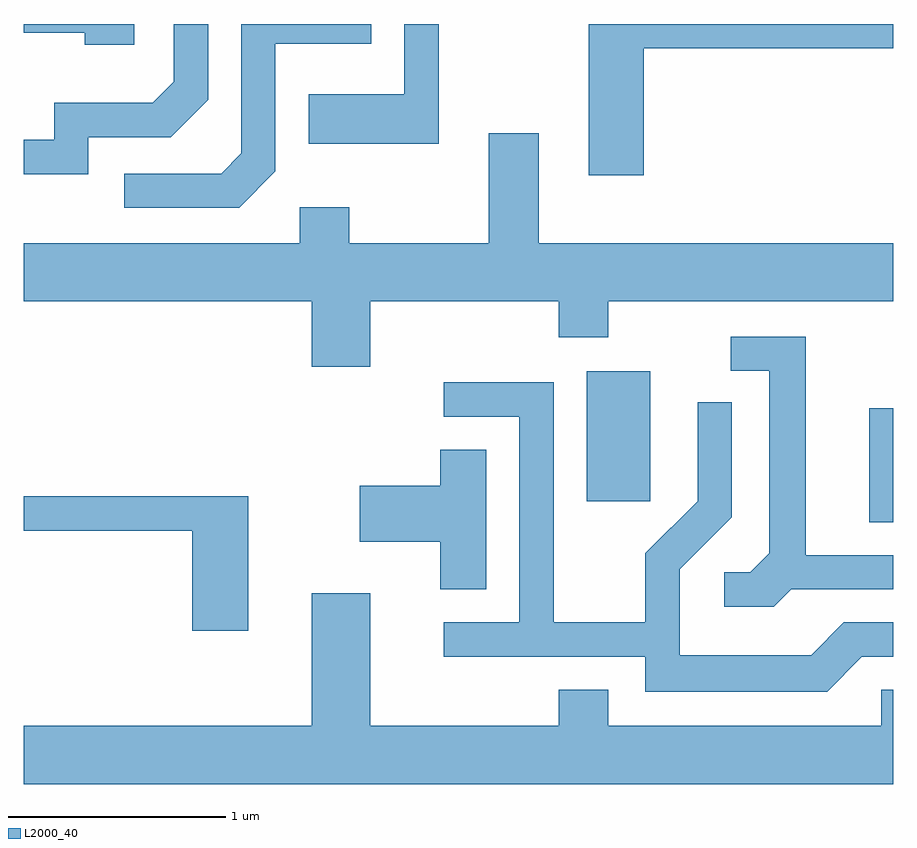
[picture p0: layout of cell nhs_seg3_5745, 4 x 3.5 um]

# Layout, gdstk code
import gdstk
lib = gdstk.Library(unit=1e-6, precision=1e-09)
def R(c, l, rs):  # rectangles x0, y0, x1, y1
    for r in rs: c.add(gdstk.rectangle(r[:2], r[2:], *l))
def P(c, l, *ps):  # polygons
    for p in ps: c.add(gdstk.Polygon(p, *l))
L2000_40 = (2000, 40)

nhs_seg3_5745 = lib.new_cell('nhs_seg3_5745')
R(nhs_seg3_5745, L2000_40, [(357.501,1191.601,357.611,1192.124), (356.201,1191.696,356.494,1192.294)])
P(nhs_seg3_5745, L2000_40, [(354.119,1193.892),(353.611,1193.892),(353.611,1193.851),(353.891,1193.851),(353.891,1193.796),(354.119,1193.796)],
  [(354.769,1193.214),(354.769,1193.801),(355.209,1193.801),(355.209,1193.892),(354.611,1193.892),(354.611,1193.297),(354.519,1193.204),(354.073,1193.204),(354.073,1193.046),(354.602,1193.046)],
  [(353.909,1193.371),(354.287,1193.371),(354.459,1193.544),(354.459,1193.892),(354.301,1193.892),(354.301,1193.627),(354.204,1193.529),(353.751,1193.529),(353.751,1193.359),(353.611,1193.359),(353.611,1193.201),(353.909,1193.201)],
  [(355.519,1193.892),(355.361,1193.892),(355.361,1193.569),(354.921,1193.569),(354.921,1193.341),(355.519,1193.341)],
  [(356.464,1193.781),(357.611,1193.781),(357.611,1193.892),(356.211,1193.892),(356.211,1193.196),(356.464,1193.196)],
  [(355.204,1192.616),(356.071,1192.616),(356.071,1192.451),(356.299,1192.451),(356.299,1192.616),(357.611,1192.616),(357.611,1192.884),(355.979,1192.884),(355.979,1193.389),(355.751,1193.389),(355.751,1192.884),(355.109,1192.884),(355.109,1193.049),(354.881,1193.049),(354.881,1192.884),(353.611,1192.884),(353.611,1192.616),(354.936,1192.616),(354.936,1192.316),(355.204,1192.316)],
  [(357.142,1191.291),(357.611,1191.291),(357.611,1191.449),(357.209,1191.449),(357.209,1192.454),(356.863,1192.454),(356.863,1192.296),(357.041,1192.296),(357.041,1191.457),(356.954,1191.369),(356.833,1191.369),(356.833,1191.211),(357.062,1191.211)],
  [(357.467,1190.981),(357.611,1190.981),(357.611,1191.139),(357.384,1191.139),(357.234,1190.989),(356.629,1190.989),(356.629,1191.384),(356.869,1191.624),(356.869,1192.153),(356.711,1192.153),(356.711,1191.697),(356.471,1191.457),(356.471,1191.139),(356.049,1191.139),(356.049,1192.244),(355.543,1192.244),(355.543,1192.086),(355.891,1192.086),(355.891,1191.139),(355.543,1191.139),(355.543,1190.981),(356.471,1190.981),(356.471,1190.821),(357.307,1190.821)],
  [(355.739,1191.934),(355.526,1191.934),(355.526,1191.769),(355.156,1191.769),(355.156,1191.511),(355.526,1191.511),(355.526,1191.291),(355.739,1191.291)],
  [(354.644,1191.719),(353.611,1191.719),(353.611,1191.561),(354.386,1191.561),(354.386,1191.101),(354.644,1191.101)],
  [(357.611,1190.829),(357.556,1190.829),(357.556,1190.664),(356.299,1190.664),(356.299,1190.829),(356.071,1190.829),(356.071,1190.664),(355.204,1190.664),(355.204,1191.274),(354.936,1191.274),(354.936,1190.664),(353.611,1190.664),(353.611,1190.396),(357.611,1190.396)])

lib.write_gds('nhs_seg3_5745.gds')
